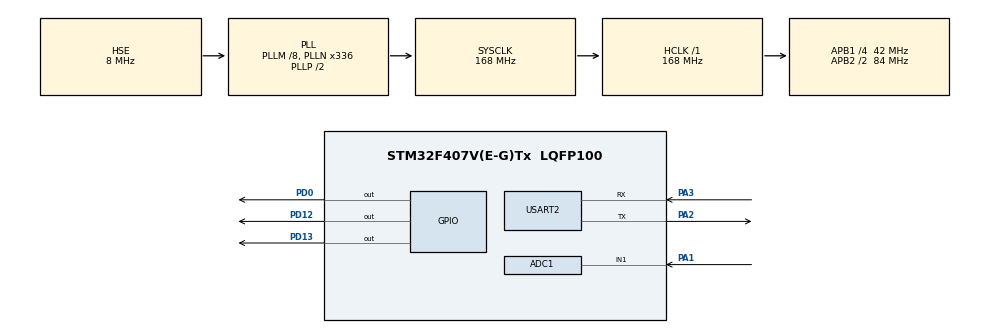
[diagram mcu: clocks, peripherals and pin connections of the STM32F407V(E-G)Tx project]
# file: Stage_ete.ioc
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ADC1.Channel-1\#ChannelRegularConversion=ADC_CHANNEL_1
ADC1.NbrOfConversionFlag=1
ADC1.Rank-1\#ChannelRegularConversion=1
ADC1.SamplingTime-1\#ChannelRegularConversion=ADC_SAMPLETIME_3CYCLES
ADC1.master=1
Mcu.Family=STM32F4
Mcu.Name=STM32F407V(E-G)Tx
Mcu.Package=LQFP100
NVIC.PriorityGroup=NVIC_PRIORITYGROUP_0
PA1.Signal=ADCx_IN1
PA2.Mode=Asynchronous
PA2.Signal=USART2_TX
PA3.Mode=Asynchronous
PA3.Signal=USART2_RX
PD0.GPIO_ModeDefaultOutputPP=GPIO_MODE_OUTPUT_OD
PD0.GPIO_PuPd=GPIO_NOPULL
PD0.PinState=GPIO_PIN_SET
PD0.Signal=GPIO_Output
PD12.Signal=GPIO_Output
PD13.Signal=GPIO_Output
PH0-OSC_IN.Mode=HSE-External-Oscillator
PH0-OSC_IN.Signal=RCC_OSC_IN
PH1-OSC_OUT.Mode=HSE-External-Oscillator
PH1-OSC_OUT.Signal=RCC_OSC_OUT
ProjectManager.HeapSize=0x200
ProjectManager.StackSize=0x400
ProjectManager.TargetToolchain=STM32CubeIDE
RCC.48MHZClocksFreq_Value=48000000
RCC.AHBFreq_Value=168000000
RCC.APB1CLKDivider=RCC_HCLK_DIV4
RCC.APB1Freq_Value=42000000
RCC.APB1TimFreq_Value=84000000
RCC.APB2CLKDivider=RCC_HCLK_DIV2
RCC.APB2Freq_Value=84000000
RCC.APB2TimFreq_Value=168000000
RCC.CortexFreq_Value=168000000
RCC.HCLKFreq_Value=168000000
RCC.HSE_VALUE=8000000
RCC.HSI_VALUE=16000000
RCC.LSE_VALUE=32768
RCC.PLLM=8
RCC.PLLN=336
RCC.PLLQ=7
RCC.PLLSourceVirtual=RCC_PLLSOURCE_HSE
RCC.SYSCLKFreq_VALUE=168000000
RCC.SYSCLKSource=RCC_SYSCLKSOURCE_PLLCLK
RCC.VCOOutputFreq_Value=336000000
SH.ADCx_IN1.0=ADC1_IN1,IN1
USART2.VirtualMode=VM_ASYNC
board=STM32F407G-DISC1

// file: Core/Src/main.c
/* USER CODE BEGIN Header */
/**
  ******************************************************************************
  * @file           : main.c
  * @brief          : AC Current and Temperature Monitoring with NanoEdge AI
  ******************************************************************************
  * @attention
  *
  * Copyright (c) 2026 STMicroelectronics.
  * All rights reserved.
  *
  ******************************************************************************
  */
/* USER CODE END Header */
#include "main.h"

/* USER CODE BEGIN Includes */

#include "NanoEdgeAI.h"
#include <stdio.h>
#include <string.h>
#include <stdbool.h>
#include <stdint.h>
#include <math.h>

/* USER CODE END Includes */

/* USER CODE BEGIN PD */

/* DHT22 connected to PD0 */
#define DHT22_PORT              GPIOD
#define DHT22_PIN               GPIO_PIN_0

/* ACS712-5A parameters */
#define ACS712_VREF             3.3f
#define ACS712_ADC_MAX          4095.0f
#define ACS712_SENSITIVITY      0.185f

/* AC RMS measurement */
#define RMS_SAMPLE_COUNT        200U
#define RMS_SAMPLE_DELAY_MS     1U

/* NanoEdge AI anomaly threshold */
#define ANOMALY_THRESHOLD       80U

/* DHT22 minimum reading interval */
#define DHT22_INTERVAL_MS       2000U

/* USER CODE END PD */

ADC_HandleTypeDef hadc1;

UART_HandleTypeDef huart2;

/* USER CODE BEGIN PV */

/* ADC and current measurement variables */
uint32_t adc_value = 0;
float voltage = 0.0f;
float current = 0.0f;

/* DHT22 measurement variables */
float temperature = 0.0f;
float humidity = 0.0f;

/* NanoEdge AI variables */
enum neai_state state;
bool use_pretrained = true;
uint8_t similarity = 0;
uint8_t anomaly = 0;

/* Two input axes: current RMS and temperature */
float input_signal[NEAI_INPUT_SIGNAL_LENGTH *
                   NEAI_INPUT_AXIS_NUMBER];

/* UART transmission buffer */
char uart_message[100];

/* DWT timing variables */
uint32_t cycles_per_us = 0;

/* USER CODE END PV */

void SystemClock_Config(void);
static void MX_GPIO_Init(void);
static void MX_ADC1_Init(void);
static void MX_USART2_UART_Init(void);
/* USER CODE BEGIN PFP */

static void DWT_Init(void);
static void delay_us(uint32_t us);

static void DHT22_Set_Pin_Output(void);
static void DHT22_Set_Pin_Input(void);

static uint8_t DHT22_Wait_For_Level(GPIO_PinState level,
                                    uint32_t timeout_us);

static uint8_t DHT22_Read(float *temperature_value,
                          float *humidity_value);

static uint8_t Read_Current(float *current_value);

/* USER CODE END PFP */

/* USER CODE BEGIN 0 */

/**
 * @brief Initialize DWT counter for microsecond timing.
 */
static void DWT_Init(void)
{
    CoreDebug->DEMCR |= CoreDebug_DEMCR_TRCENA_Msk;

    DWT->CYCCNT = 0;
    DWT->CTRL |= DWT_CTRL_CYCCNTENA_Msk;

    cycles_per_us = SystemCoreClock / 1000000U;
}

/**
 * @brief Generate a microsecond delay using DWT.
 */
static void delay_us(uint32_t us)
{
    uint32_t start = DWT->CYCCNT;
    uint32_t delay_cycles = us * cycles_per_us;

    while ((DWT->CYCCNT - start) < delay_cycles)
    {
    }
}

/**
 * @brief Configure DHT22 pin as open-drain output.
 */
static void DHT22_Set_Pin_Output(void)
{
    GPIO_InitTypeDef GPIO_InitStruct = {0};

    GPIO_InitStruct.Pin = DHT22_PIN;
    GPIO_InitStruct.Mode = GPIO_MODE_OUTPUT_OD;
    GPIO_InitStruct.Pull = GPIO_NOPULL;
    GPIO_InitStruct.Speed = GPIO_SPEED_FREQ_LOW;

    HAL_GPIO_Init(DHT22_PORT, &GPIO_InitStruct);
}

/**
 * @brief Configure DHT22 pin as input.
 */
static void DHT22_Set_Pin_Input(void)
{
    GPIO_InitTypeDef GPIO_InitStruct = {0};

    GPIO_InitStruct.Pin = DHT22_PIN;
    GPIO_InitStruct.Mode = GPIO_MODE_INPUT;
    GPIO_InitStruct.Pull = GPIO_NOPULL;

    HAL_GPIO_Init(DHT22_PORT, &GPIO_InitStruct);
}

/**
 * @brief Wait until DHT22 pin reaches requested logic level.
 */
static uint8_t DHT22_Wait_For_Level(GPIO_PinState level,
                                    uint32_t timeout_us)
{
    uint32_t start = DWT->CYCCNT;
    uint32_t timeout_cycles = timeout_us * cycles_per_us;

    while (HAL_GPIO_ReadPin(DHT22_PORT, DHT22_PIN) != level)
    {
        if ((DWT->CYCCNT - start) > timeout_cycles)
        {
            return 0;
        }
    }

    return 1;
}

/**
 * @brief Read temperature and humidity from DHT22.
 */
static uint8_t DHT22_Read(float *temperature_value,
                          float *humidity_value)
{
    uint8_t data[5] = {0};
    uint8_t i;
    uint8_t j;

    uint32_t pulse_start;
    uint32_t pulse_duration;

    uint16_t raw_temperature;
    uint16_t raw_humidity;

    if ((temperature_value == NULL) ||
        (humidity_value == NULL) ||
        (cycles_per_us == 0U))
    {
        return 0;
    }

    /* Send start signal */
    DHT22_Set_Pin_Output();

    HAL_GPIO_WritePin(DHT22_PORT,
                      DHT22_PIN,
                      GPIO_PIN_RESET);

    HAL_Delay(2);

    /* Release data line */
    HAL_GPIO_WritePin(DHT22_PORT,
                      DHT22_PIN,
                      GPIO_PIN_SET);

    delay_us(30);

    /* Switch to input mode */
    DHT22_Set_Pin_Input();

    /* Check sensor response */
    if (!DHT22_Wait_For_Level(GPIO_PIN_RESET, 100))
        return 0;

    if (!DHT22_Wait_For_Level(GPIO_PIN_SET, 100))
        return 0;

    if (!DHT22_Wait_For_Level(GPIO_PIN_RESET, 100))
        return 0;

    /* Read 40 data bits */
    for (i = 0; i < 5; i++)
    {
        for (j = 0; j < 8; j++)
        {
            if (!DHT22_Wait_For_Level(GPIO_PIN_SET, 100))
                return 0;

            pulse_start = DWT->CYCCNT;

            if (!DHT22_Wait_For_Level(GPIO_PIN_RESET, 100))
                return 0;

            pulse_duration =
                (DWT->CYCCNT - pulse_start) / cycles_per_us;

            data[i] <<= 1;

            /* Longer high pulse represents bit 1 */
            if (pulse_duration > 40U)
            {
                data[i] |= 1U;
            }
        }
    }

    /* Verify checksum */
    if ((uint8_t)(data[0] + data[1] +
                  data[2] + data[3]) != data[4])
    {
        return 0;
    }

    /* Convert raw humidity */
    raw_humidity =
        ((uint16_t)data[0] << 8) | data[1];

    /* Convert raw temperature */
    raw_temperature =
        ((uint16_t)(data[2] & 0x7F) << 8) | data[3];

    *humidity_value = raw_humidity / 10.0f;
    *temperature_value = raw_temperature / 10.0f;

    /* Check temperature sign */
    if (data[2] & 0x80U)
    {
        *temperature_value = -*temperature_value;
    }

    return 1;
}

/**
 * @brief Read AC current using ACS712 and calculate RMS.
 *
 * RMS voltage is calculated after removing the DC offset.
 * RMS current = RMS voltage / ACS712 sensitivity.
 */
static uint8_t Read_Current(float *current_value)
{
    uint32_t i;
    uint32_t adc_sample;

    float sample_voltage;
    float voltage_sum = 0.0f;
    float voltage_squared_sum = 0.0f;
    float mean_voltage;
    float mean_square_voltage;
    float rms_voltage_squared;
    float rms_voltage;

    if (current_value == NULL)
    {
        return 0;
    }

    /* Acquire ADC samples */
    for (i = 0; i < RMS_SAMPLE_COUNT; i++)
    {
        if (HAL_ADC_Start(&hadc1) != HAL_OK)
        {
            return 0;
        }

        if (HAL_ADC_PollForConversion(&hadc1, 100) != HAL_OK)
        {
            HAL_ADC_Stop(&hadc1);
            return 0;
        }

        adc_sample = HAL_ADC_GetValue(&hadc1);

        if (HAL_ADC_Stop(&hadc1) != HAL_OK)
        {
            return 0;
        }

        /* Convert ADC value into voltage */
        sample_voltage =
            ((float)adc_sample * ACS712_VREF) /
            ACS712_ADC_MAX;

        voltage_sum += sample_voltage;
        voltage_squared_sum +=
            sample_voltage * sample_voltage;

        HAL_Delay(RMS_SAMPLE_DELAY_MS);
    }

    /* Calculate mean voltage */
    mean_voltage =
        voltage_sum / (float)RMS_SAMPLE_COUNT;

    /* Calculate mean squared voltage */
    mean_square_voltage =
        voltage_squared_sum / (float)RMS_SAMPLE_COUNT;

    /* Remove DC offset */
    rms_voltage_squared =
        mean_square_voltage -
        (mean_voltage * mean_voltage);

    if (rms_voltage_squared < 0.0f)
    {
        rms_voltage_squared = 0.0f;
    }

    /* Calculate AC RMS voltage */
    rms_voltage = sqrtf(rms_voltage_squared);

    /* Convert RMS voltage into RMS current */
    *current_value =
        rms_voltage / ACS712_SENSITIVITY;

    return 1;
}

/* USER CODE END 0 */

int main(void)
{

  /* MCU Configuration--------------------------------------------------------*/

  /* Reset of all peripherals, Initializes the Flash interface and the Systick. */
  HAL_Init();

  /* Configure the system clock */
  SystemClock_Config();

  /* Initialize all configured peripherals */
  MX_GPIO_Init();
  MX_ADC1_Init();
  MX_USART2_UART_Init();
  /* USER CODE BEGIN 2 */

    /* Initialize DWT for microsecond timing */
    DWT_Init();

    /* Initialize NanoEdge AI model */
    state = neai_anomalydetection_init(use_pretrained);

    if (state != NEAI_OK)
    {
        Error_Handler();
    }

  /* USER CODE END 2 */

  /* Infinite loop */
  /* USER CODE BEGIN WHILE */
    while (1)
    {
        /* Read AC current from ACS712 */
        if (!Read_Current(&current))
        {
            Error_Handler();
        }

        /* Read temperature and humidity from DHT22 */
        if (DHT22_Read(&temperature, &humidity))
        {
            /* Prepare NanoEdge AI input axes */
            input_signal[0] = current;
            input_signal[1] = temperature;

            /* Run anomaly detection */
            state = neai_anomalydetection_detect(
                input_signal,
                &similarity
            );

            if (state != NEAI_OK)
            {
                Error_Handler();
            }

            /* Determine anomaly status */
            anomaly =
                (similarity < ANOMALY_THRESHOLD) ? 1U : 0U;

            /* Control anomaly indicator on PD12 */
            if (anomaly == 1U)
            {
                HAL_GPIO_WritePin(GPIOD,
                                  GPIO_PIN_12,
                                  GPIO_PIN_SET);
            }
            else
            {
                HAL_GPIO_WritePin(GPIOD,
                                  GPIO_PIN_12,
                                  GPIO_PIN_RESET);
            }

            /* Prepare measurements for ESP8266 */
            int32_t current_x100 =
                (int32_t)(current * 100.0f);

            int32_t temperature_x10 =
                (int32_t)(temperature * 10.0f);

            int32_t humidity_x10 =
                (int32_t)(humidity * 10.0f);

            int uart_length = snprintf(
                uart_message,
                sizeof(uart_message),
                "I_x100=%ld;T_x10=%ld;H_x10=%ld;S=%u;A=%u\r\n",
                (long)current_x100,
                (long)temperature_x10,
                (long)humidity_x10,
                (unsigned int)similarity,
                (unsigned int)anomaly
            );

            /* Send data through USART2 */
            if ((uart_length > 0) &&
                (uart_length < (int)sizeof(uart_message)))
            {
                if (HAL_UART_Transmit(
                        &huart2,
                        (uint8_t *)uart_message,
                        (uint16_t)uart_length,
                        1000) != HAL_OK)
                {
                    Error_Handler();
                }
            }

            /* Toggle status LED on PD13 */
            HAL_GPIO_TogglePin(GPIOD, GPIO_PIN_13);
        }
        else
        {
            /* DHT22 reading error */
            const char error_message[] = "DHT22_ERROR\r\n";

            HAL_UART_Transmit(
                &huart2,
                (uint8_t *)error_message,
                sizeof(error_message) - 1U,
                1000
            );
        }

        /* DHT22 requires approximately 2 seconds between readings */
        HAL_Delay(DHT22_INTERVAL_MS);

    /* USER CODE END WHILE */

    }
}

void SystemClock_Config(void)
{
  RCC_OscInitTypeDef RCC_OscInitStruct = {0};
  RCC_ClkInitTypeDef RCC_ClkInitStruct = {0};

  /** Configure the main internal regulator output voltage
  */
  __HAL_RCC_PWR_CLK_ENABLE();
  __HAL_PWR_VOLTAGESCALING_CONFIG(PWR_REGULATOR_VOLTAGE_SCALE1);

  /** Initializes the RCC Oscillators according to the specified parameters
  * in the RCC_OscInitTypeDef structure.
  */
  RCC_OscInitStruct.OscillatorType = RCC_OSCILLATORTYPE_HSE;
  RCC_OscInitStruct.HSEState = RCC_HSE_ON;
  RCC_OscInitStruct.PLL.PLLState = RCC_PLL_ON;
  RCC_OscInitStruct.PLL.PLLSource = RCC_PLLSOURCE_HSE;
  RCC_OscInitStruct.PLL.PLLM = 8;
  RCC_OscInitStruct.PLL.PLLN = 336;
  RCC_OscInitStruct.PLL.PLLP = RCC_PLLP_DIV2;
  RCC_OscInitStruct.PLL.PLLQ = 7;
  if (HAL_RCC_OscConfig(&RCC_OscInitStruct) != HAL_OK)
  {
    Error_Handler();
  }

  /** Initializes the CPU, AHB and APB buses clocks
  */
  RCC_ClkInitStruct.ClockType = RCC_CLOCKTYPE_HCLK|RCC_CLOCKTYPE_SYSCLK
                              |RCC_CLOCKTYPE_PCLK1|RCC_CLOCKTYPE_PCLK2;
  RCC_ClkInitStruct.SYSCLKSource = RCC_SYSCLKSOURCE_PLLCLK;
  RCC_ClkInitStruct.AHBCLKDivider = RCC_SYSCLK_DIV1;
  RCC_ClkInitStruct.APB1CLKDivider = RCC_HCLK_DIV4;
  RCC_ClkInitStruct.APB2CLKDivider = RCC_HCLK_DIV2;

  if (HAL_RCC_ClockConfig(&RCC_ClkInitStruct, FLASH_LATENCY_5) != HAL_OK)
  {
    Error_Handler();
  }
}

static void MX_ADC1_Init(void)
{

  ADC_ChannelConfTypeDef sConfig = {0};

  /** Configure the global features of the ADC (Clock, Resolution, Data Alignment and number of conversion)
  */
  hadc1.Instance = ADC1;
  hadc1.Init.ClockPrescaler = ADC_CLOCK_SYNC_PCLK_DIV4;
  hadc1.Init.Resolution = ADC_RESOLUTION_12B;
  hadc1.Init.ScanConvMode = DISABLE;
  hadc1.Init.ContinuousConvMode = DISABLE;
  hadc1.Init.DiscontinuousConvMode = DISABLE;
  hadc1.Init.ExternalTrigConvEdge = ADC_EXTERNALTRIGCONVEDGE_NONE;
  hadc1.Init.ExternalTrigConv = ADC_SOFTWARE_START;
  hadc1.Init.DataAlign = ADC_DATAALIGN_RIGHT;
  hadc1.Init.NbrOfConversion = 1;
  hadc1.Init.DMAContinuousRequests = DISABLE;
  hadc1.Init.EOCSelection = ADC_EOC_SINGLE_CONV;
  if (HAL_ADC_Init(&hadc1) != HAL_OK)
  {
    Error_Handler();
  }

  /** Configure for the selected ADC regular channel its corresponding rank in the sequencer and its sample time.
  */
  sConfig.Channel = ADC_CHANNEL_1;
  sConfig.Rank = 1;
  sConfig.SamplingTime = ADC_SAMPLETIME_3CYCLES;
  if (HAL_ADC_ConfigChannel(&hadc1, &sConfig) != HAL_OK)
  {
    Error_Handler();
  }

}

static void MX_USART2_UART_Init(void)
{

  huart2.Instance = USART2;
  huart2.Init.BaudRate = 115200;
  huart2.Init.WordLength = UART_WORDLENGTH_8B;
  huart2.Init.StopBits = UART_STOPBITS_1;
  huart2.Init.Parity = UART_PARITY_NONE;
  huart2.Init.Mode = UART_MODE_TX_RX;
  huart2.Init.HwFlowCtl = UART_HWCONTROL_NONE;
  huart2.Init.OverSampling = UART_OVERSAMPLING_16;
  if (HAL_UART_Init(&huart2) != HAL_OK)
  {
    Error_Handler();
  }

}

static void MX_GPIO_Init(void)
{
  GPIO_InitTypeDef GPIO_InitStruct = {0};

  /* GPIO Ports Clock Enable */
  __HAL_RCC_GPIOH_CLK_ENABLE();
  __HAL_RCC_GPIOA_CLK_ENABLE();
  __HAL_RCC_GPIOD_CLK_ENABLE();

  /*Configure GPIO pin Output Level */
  HAL_GPIO_WritePin(GPIOD, GPIO_PIN_12|GPIO_PIN_13, GPIO_PIN_RESET);

  /*Configure GPIO pin Output Level */
  HAL_GPIO_WritePin(GPIOD, GPIO_PIN_0, GPIO_PIN_SET);

  /*Configure GPIO pins : PD12 PD13 */
  GPIO_InitStruct.Pin = GPIO_PIN_12|GPIO_PIN_13;
  GPIO_InitStruct.Mode = GPIO_MODE_OUTPUT_PP;
  GPIO_InitStruct.Pull = GPIO_NOPULL;
  GPIO_InitStruct.Speed = GPIO_SPEED_FREQ_LOW;
  HAL_GPIO_Init(GPIOD, &GPIO_InitStruct);

  /*Configure GPIO pin : PD0 */
  GPIO_InitStruct.Pin = GPIO_PIN_0;
  GPIO_InitStruct.Mode = GPIO_MODE_OUTPUT_OD;
  GPIO_InitStruct.Pull = GPIO_NOPULL;
  GPIO_InitStruct.Speed = GPIO_SPEED_FREQ_LOW;
  HAL_GPIO_Init(GPIOD, &GPIO_InitStruct);

}

void Error_Handler(void)
{
    __disable_irq();
    while (1)
    {
    }
}

#ifdef  USE_FULL_ASSERT
/**
  * @brief  Reports the name of the source file and the source line number
  *         where the assert_param error has occurred.
  * @param  file: pointer to the source file name
  * @param  line: assert_param error line source number
  * @retval None
  */
void assert_failed(uint8_t *file, uint32_t line)
{
  /* USER CODE BEGIN 6 */

    /* User can add implementation to report file and line */

  /* USER CODE END 6 */
}
#endif /* USE_FULL_ASSERT */
